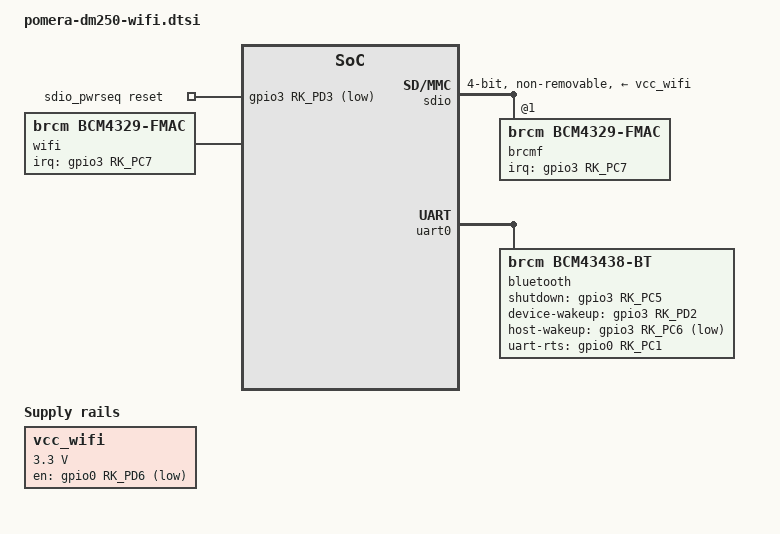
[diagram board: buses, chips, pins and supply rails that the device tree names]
// SPDX-License-Identifier: (GPL-2.0+ OR MIT)

/ {
	vcc_wifi: vcc-wifi {
		compatible = "regulator-fixed";
		regulator-name = "vcc-wifi";
		regulator-min-microvolt = <3300000>;
		regulator-max-microvolt = <3300000>;
		gpio = <&gpio0 RK_PD6 GPIO_ACTIVE_LOW>;
		pinctrl-names = "default";
		pinctrl-0 = <&wifi_pwr_en>;
		startup-delay-us = <100000>;
	};

	sdio_pwrseq: sdio-pwrseq {
		compatible = "mmc-pwrseq-simple";
		reset-gpios = <&gpio3 RK_PD3 GPIO_ACTIVE_LOW>;
		post-power-on-delay-ms = <200>;
		pinctrl-names = "default";
		pinctrl-0 = <&wifi_reset>;
	};

	wifi {
		compatible = "brcm,bcm4329-fmac";
		interrupt-parent = <&gpio3>;
		interrupts = <RK_PC7 IRQ_TYPE_LEVEL_LOW>;
		interrupt-names = "host-wake";
		pinctrl-names = "default";
		pinctrl-0 = <&wifi_host_wake_irq>;
	};
};

&pinctrl {
	bt {
		bt_reset: bt-reset {
			rockchip,pins = <3 RK_PC5 RK_FUNC_GPIO &pcfg_pull_none>;
		};

		bt_wake: bt-wake {
			rockchip,pins = <3 RK_PD2 RK_FUNC_GPIO &pcfg_pull_none>;
		};

		bt_host_wake: bt-host-wake {
			rockchip,pins = <3 RK_PC6 RK_FUNC_GPIO &pcfg_pull_none>;
		};

		bt_rts_gpio: bt-rts-gpio {
			rockchip,pins = <0 RK_PC1 RK_FUNC_GPIO &pcfg_pull_none>;
		};

		bt_rts_uart: bt-rts-uart {
			rockchip,pins = <0 RK_PC1 2 &pcfg_pull_none>;
		};
	};

	wifi {
		wifi_pwr_en: wifi-pwr-en {
			rockchip,pins = <0 RK_PD6 RK_FUNC_GPIO &pcfg_pull_none>;
		};

		wifi_host_wake_irq: wifi-host-wake-irq {
			rockchip,pins = <3 RK_PC7 RK_FUNC_GPIO &pcfg_pull_none>;
		};

		wifi_reset: wifi-reset {
			rockchip,pins = <3 RK_PD3 RK_FUNC_GPIO &pcfg_pull_none>;
		};
	};
};

/* for wifi */
&sdio {
	bus-width = <4>;
	cap-sd-highspeed;
	cap-sdio-irq;
	keep-power-in-suspend;
	non-removable;
	vmmc-supply = <&vcc_wifi>;
	mmc-pwrseq = <&sdio_pwrseq>;
	pinctrl-names = "default";
	pinctrl-0 = <&sdio_cmd &sdio_clk &sdio_bus4>;
	fifo-mode;
	status = "okay";
	#address-cells = <1>;
	#size-cells = <0>;

	brcmf: wifi@1 {
		compatible = "brcm,bcm4329-fmac";
		reg = <1>;
		interrupt-parent = <&gpio3>;
		interrupts = <RK_PC7 IRQ_TYPE_LEVEL_LOW>;
		interrupt-names = "host-wake";
		pinctrl-names = "default";
		pinctrl-0 = <&wifi_host_wake_irq>;
	};
};

/* for bt */
&uart0 {
	status = "okay";

	bluetooth {
		compatible = "brcm,bcm43438-bt";
		shutdown-gpios = <&gpio3 RK_PC5 GPIO_ACTIVE_HIGH>;
		device-wakeup-gpios = <&gpio3 RK_PD2 GPIO_ACTIVE_HIGH>;
		host-wakeup-gpios = <&gpio3 RK_PC6 GPIO_ACTIVE_LOW>;
		uart-rts-gpios = <&gpio0 RK_PC1 GPIO_ACTIVE_HIGH>;
		pinctrl-names = "default", "rts-gpio", "rts-uart";
		pinctrl-0 = <&bt_reset &bt_wake &bt_host_wake>;
		pinctrl-1 = <&bt_rts_gpio>;
		pinctrl-2 = <&bt_rts_uart>;
	};
};
